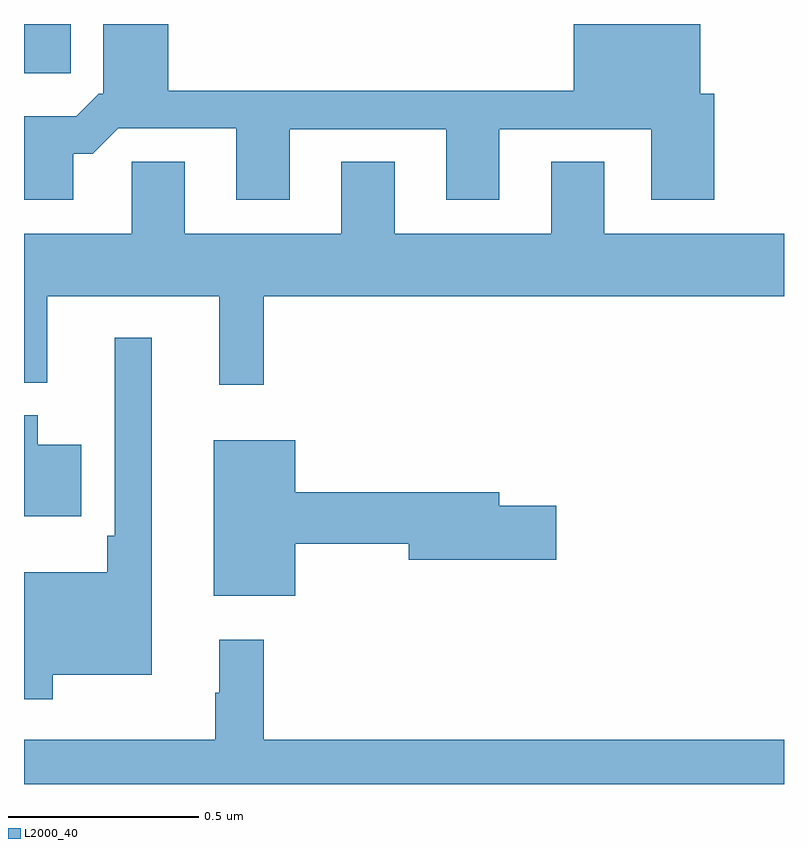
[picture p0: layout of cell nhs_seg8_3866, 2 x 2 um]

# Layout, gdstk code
import gdstk
lib = gdstk.Library(unit=1e-6, precision=1e-09)
def R(c, l, rs):  # rectangles x0, y0, x1, y1
    for r in rs: c.add(gdstk.rectangle(r[:2], r[2:], *l))
def P(c, l, *ps):  # polygons
    for p in ps: c.add(gdstk.Polygon(p, *l))
L2000_40 = (2000, 40)

nhs_seg8_3866 = lib.new_cell('nhs_seg8_3866')
R(nhs_seg8_3866, L2000_40, [(163,1099.77,163.123,1099.9)])
P(nhs_seg8_3866, L2000_40, [(163.129,1099.559),(163.181,1099.559),(163.248,1099.626),(163.559,1099.626),(163.559,1099.437),(163.699,1099.437),(163.699,1099.623),(164.111,1099.623),(164.111,1099.437),(164.251,1099.437),(164.251,1099.623),(164.651,1099.623),(164.651,1099.437),(164.816,1099.437),(164.816,1099.716),(164.779,1099.716),(164.779,1099.9),(164.447,1099.9),(164.447,1099.724),(163.379,1099.724),(163.379,1099.9),(163.208,1099.9),(163.208,1099.716),(163.197,1099.716),(163.138,1099.657),(163,1099.657),(163,1099.437),(163.129,1099.437)],
  [(163.631,1099.184),(165,1099.184),(165,1099.348),(164.527,1099.348),(164.527,1099.538),(164.387,1099.538),(164.387,1099.348),(163.975,1099.348),(163.975,1099.538),(163.835,1099.538),(163.835,1099.348),(163.423,1099.348),(163.423,1099.538),(163.284,1099.538),(163.284,1099.348),(163,1099.348),(163,1098.956),(163.061,1098.956),(163.061,1099.184),(163.514,1099.184),(163.514,1098.951),(163.631,1098.951)],
  [(163.075,1098.188),(163.336,1098.188),(163.336,1099.075),(163.239,1099.075),(163.239,1098.553),(163.219,1098.553),(163.219,1098.457),(163,1098.457),(163,1098.123),(163.075,1098.123)],
  [(163.15,1098.793),(163.036,1098.793),(163.036,1098.871),(163,1098.871),(163,1098.605),(163.15,1098.605)],
  [(163.714,1098.532),(164.012,1098.532),(164.012,1098.49),(164.401,1098.49),(164.401,1098.632),(164.251,1098.632),(164.251,1098.668),(163.714,1098.668),(163.714,1098.805),(163.499,1098.805),(163.499,1098.395),(163.714,1098.395)],
  [(165,1098.016),(163.631,1098.016),(163.631,1098.28),(163.514,1098.28),(163.514,1098.14),(163.503,1098.14),(163.503,1098.016),(163,1098.016),(163,1097.9),(165,1097.9)])

lib.write_gds('nhs_seg8_3866.gds')
